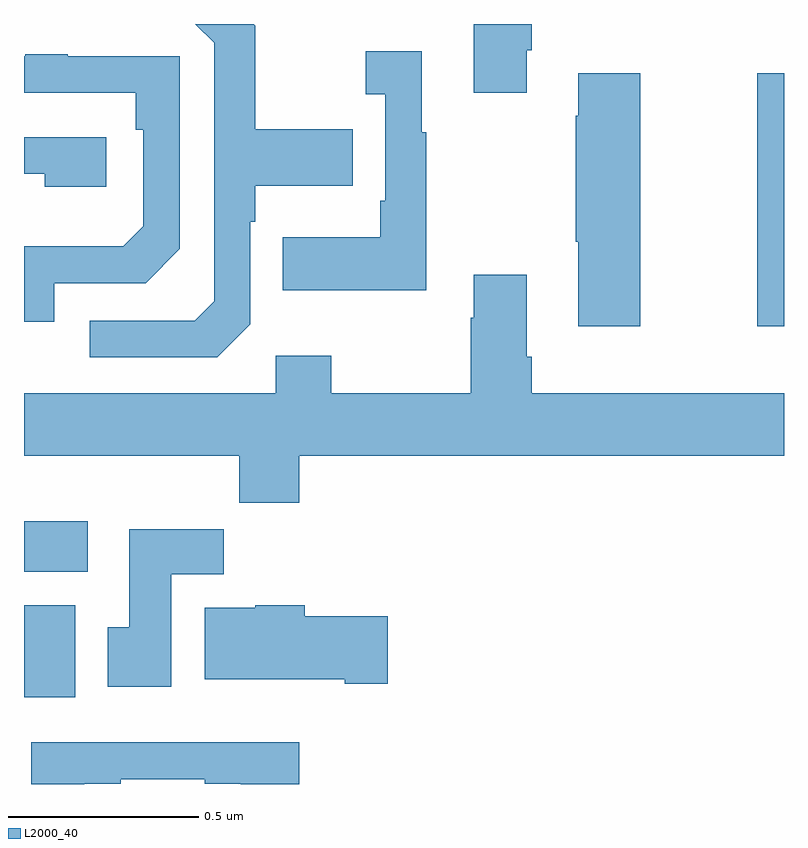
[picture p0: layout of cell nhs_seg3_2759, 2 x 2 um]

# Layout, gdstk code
import gdstk
lib = gdstk.Library(unit=1e-6, precision=1e-09)
def R(c, l, rs):  # rectangles x0, y0, x1, y1
    for r in rs: c.add(gdstk.rectangle(r[:2], r[2:], *l))
def P(c, l, *ps):  # polygons
    for p in ps: c.add(gdstk.Polygon(p, *l))
L2000_40 = (2000, 40)

nhs_seg3_2759 = lib.new_cell('nhs_seg3_2759')
R(nhs_seg3_2759, L2000_40, [(145,685.628,145.135,685.87), (145,685.958,145.168,686.092), (146.929,686.604,147,687.271)])
P(nhs_seg3_2759, L2000_40, [(146.323,687.331),(146.336,687.331),(146.336,687.4),(146.183,687.4),(146.183,687.219),(146.323,687.219)],
  [(145.596,686.61),(145.596,686.879),(145.609,686.879),(145.609,686.975),(145.865,686.975),(145.865,687.123),(145.609,687.123),(145.609,687.395),(145.604,687.4),(145.451,687.4),(145.5,687.351),(145.5,686.67),(145.449,686.619),(145.173,686.619),(145.173,686.523),(145.509,686.523)],
  [(146.059,687.115),(146.047,687.115),(146.047,687.328),(145.899,687.328),(145.899,687.215),(145.95,687.215),(145.95,686.935),(145.938,686.935),(145.938,686.839),(145.681,686.839),(145.681,686.699),(146.059,686.699)],
  [(145.08,686.718),(145.32,686.718),(145.41,686.808),(145.41,687.315),(145.115,687.315),(145.115,687.32),(145.003,687.32),(145.003,687.315),(145,687.315),(145,687.219),(145.294,687.219),(145.294,687.122),(145.314,687.122),(145.314,686.868),(145.261,686.815),(145,686.815),(145,686.616),(145.08,686.616)],
  [(146.622,687.271),(146.459,687.271),(146.459,687.158),(146.452,687.158),(146.452,686.827),(146.459,686.827),(146.459,686.604),(146.622,686.604)],
  [(145.216,687.102),(145,687.102),(145,687.006),(145.055,687.006),(145.055,686.972),(145.216,686.972)],
  [(145.724,686.264),(147,686.264),(147,686.428),(146.336,686.428),(146.336,686.524),(146.323,686.524),(146.323,686.74),(146.183,686.74),(146.183,686.627),(146.176,686.627),(146.176,686.428),(145.809,686.428),(145.809,686.527),(145.662,686.527),(145.662,686.428),(145,686.428),(145,686.264),(145.567,686.264),(145.567,686.14),(145.724,686.14)],
  [(145.387,685.952),(145.526,685.952),(145.526,686.071),(145.277,686.071),(145.277,685.812),(145.22,685.812),(145.22,685.656),(145.387,685.656)],
  [(145.957,685.842),(145.739,685.842),(145.739,685.87),(145.608,685.87),(145.608,685.864),(145.475,685.864),(145.475,685.676),(145.844,685.676),(145.844,685.664),(145.957,685.664)],
  [(145.159,685.401),(145.255,685.401),(145.255,685.413),(145.475,685.413),(145.475,685.401),(145.571,685.401),(145.571,685.4),(145.724,685.4),(145.724,685.51),(145.019,685.51),(145.019,685.4),(145.159,685.4)])

lib.write_gds('nhs_seg3_2759.gds')
